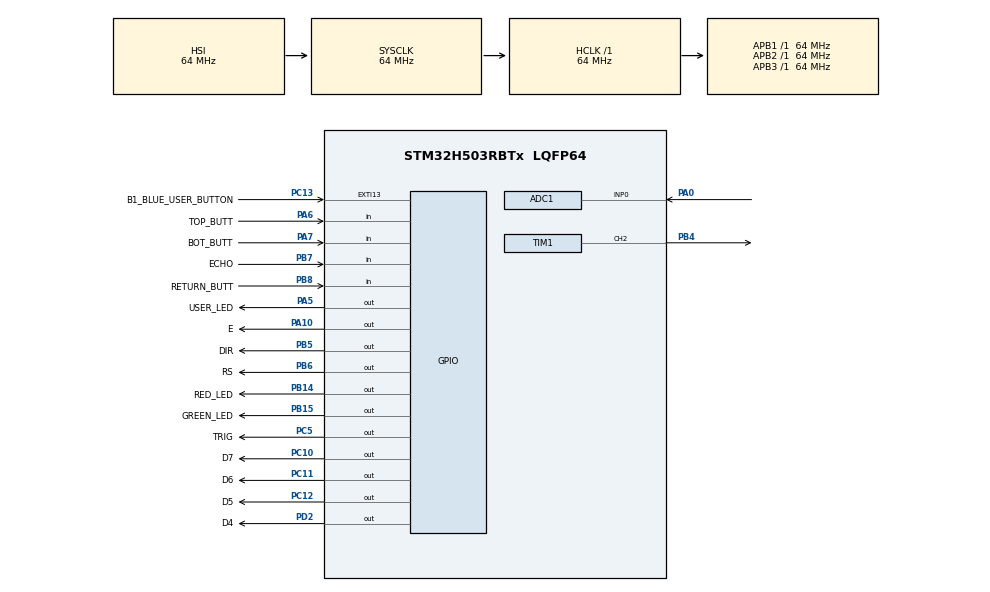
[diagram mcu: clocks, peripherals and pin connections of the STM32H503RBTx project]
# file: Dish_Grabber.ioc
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ADC1.Channel-0\#ChannelRegularConversion=ADC_CHANNEL_0
ADC1.MonitoredBy-0\#ChannelRegularConversion=__NULL
ADC1.NbrOfConversionFlag=1
ADC1.OffsetNumber-0\#ChannelRegularConversion=ADC_OFFSET_NONE
ADC1.Rank-0\#ChannelRegularConversion=1
ADC1.SamplingTime-0\#ChannelRegularConversion=ADC_SAMPLETIME_2CYCLES_5
ADC1.master=1
BOOTPATH.BootPathName=LEGACY
BOOTPATH.UserSelectedBootPath=LEGACY
Mcu.Family=STM32H5
Mcu.Name=STM32H503RBTx
Mcu.Package=LQFP64
NVIC.PriorityGroup=NVIC_PRIORITYGROUP_4
PA0.Signal=ADCx_INP0
PA10.GPIO_Label=E
PA10.Signal=GPIO_Output
PA3.GPIO_Label=T_VCP_RX
PA3.Signal=USART3_RX
PA4.GPIO_Label=T_VCP_TX
PA4.Signal=USART3_TX
PA5.GPIO_Label=USER_LED
PA5.Signal=GPIO_Output
PA6.GPIO_Label=TOP_BUTT
PA6.Signal=GPIO_Input
PA7.GPIO_Label=BOT_BUTT
PA7.Signal=GPIO_Input
PB14.GPIO_Label=RED_LED
PB14.Signal=GPIO_Output
PB15.GPIO_Label=GREEN_LED
PB15.Signal=GPIO_Output
PB4(NJTRST).Signal=S_TIM1_CH2
PB5.GPIO_Label=DIR
PB5.Signal=GPIO_Output
PB6.GPIO_Label=RS
PB6.Signal=GPIO_Output
PB7.GPIO_Label=ECHO
PB7.Signal=GPIO_Input
PB8.GPIO_Label=RETURN_BUTT
PB8.Signal=GPIO_Input
PC10.GPIO_Label=D7
PC10.Signal=GPIO_Output
PC11.GPIO_Label=D6
PC11.Signal=GPIO_Output
PC12.GPIO_Label=D5
PC12.Signal=GPIO_Output
PC13.GPIO_Label=B1_BLUE_USER_BUTTON
PC13.Signal=GPXTI13
PC5.GPIO_Label=TRIG
PC5.Signal=GPIO_Output
PD2.GPIO_Label=D4
PD2.Signal=GPIO_Output
ProjectManager.HeapSize=0x200
ProjectManager.StackSize=0x400
ProjectManager.TargetToolchain=STM32CubeIDE
RCC.ADCFreq_Value=64000000
RCC.AHBFreq_Value=64000000
RCC.APB1Freq_Value=64000000
RCC.APB1TimFreq_Value=64000000
RCC.APB2Freq_Value=64000000
RCC.APB2TimFreq_Value=64000000
RCC.APB3Freq_Value=64000000
RCC.CSI_VALUE=4000000
RCC.CortexFreq_Value=64000000
RCC.EPOD_VALUE=4000000
RCC.HCLKFreq_Value=64000000
RCC.HSE_VALUE=24000000
RCC.HSI48_VALUE=48000000
RCC.HSIDiv=RCC_HSI_DIV1
RCC.HSI_VALUE=64000000
RCC.LSE_VALUE=32768
RCC.LSIRC_VALUE=32000
RCC.PLLN=32
RCC.SYSCLKFreq_VALUE=64000000
RCC.USBFreq_Value=48000000
RCC.VCOOutputFreq_Value=128000000
SH.ADCx_INP0.0=ADC1_INP0,IN0-Single-Ended
SH.S_TIM1_CH2.0=TIM1_CH2,PWM Generation2 CH2
TIM1.Channel-PWM\ Generation2\ CH2=TIM_CHANNEL_2
TIM2.Prescaler=63
VP_BOOTPATH_VS_BOOTPATH.Mode=BP_Activate
VP_CORTEX_M33_NS_VS_Hclk.Mode=Hclk_Mode
VP_MEMORYMAP_VS_MEMORYMAP.Mode=CurAppReg
VP_PWR_VS_DBSignals.Mode=DisableDeadBatterySignals
VP_PWR_VS_LPOM.Mode=PowerOptimisation
VP_PWR_VS_SECSignals.Mode=Security/Privilege
VP_TIM2_VS_ClockSourceINT.Mode=Internal
board=NUCLEO-H503RB

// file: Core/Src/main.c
/* USER CODE BEGIN Header */
/**
  ******************************************************************************
  * @file           : main.c
  * @brief          : Main program body
  ******************************************************************************
  * @attention
  *
  * Copyright (c) 2026 STMicroelectronics.
  * All rights reserved.
  *
  * This software is licensed under terms that can be found in the LICENSE file
  * in the root directory of this software component.
  * If no LICENSE file comes with this software, it is provided AS-IS.
  *
  ******************************************************************************
  */
/* USER CODE END Header */
#include "main.h"

/* USER CODE BEGIN Includes */

#include <stdio.h> 					//Include needed for writing to LCD
/* USER CODE END Includes */

ADC_HandleTypeDef hadc1;                // ADC signal from the FSR

TIM_HandleTypeDef htim1;                // PWM Timer for the motor
TIM_HandleTypeDef htim2;				// Timer for the ultrasonic sensor

/* USER CODE BEGIN PV */

const char* modes[] = {"Plate", "Cup", "Bowl", "Manual"};  // Array of pointers for mode options
int current_mode = 0;				    // Index to keep track of  mode selection
uint8_t state = 0;     					// State Index
//uint8_t cycle = 0;
/* These next x_prev_butt variables record the value of the previous button
 * state. This is to help de-bounce and make sure that the system only
 * changes when a button goes from being un-pressed to pressed.
 * Holding the button will not derail the system.*/
uint8_t top_prev_butt = GPIO_PIN_SET;
uint8_t bot_prev_butt = GPIO_PIN_SET;
uint8_t ret_prev_butt = GPIO_PIN_SET;

uint8_t positioned = 0;                  // Indicates when the slider has reached its position
uint8_t select = GPIO_PIN_RESET;         // Indicates when the select button has been pressed
uint16_t touch = 0;                      // Stores the value of the voltage seen by the ADC input from the FSR

/* USER CODE END PV */

void SystemClock_Config(void);
static void MX_GPIO_Init(void);
static void MX_TIM2_Init(void);
static void MX_TIM1_Init(void);
static void MX_ADC1_Init(void);

/* USER CODE BEGIN 0 */
/*These are the functions to initiate and enable to LCD and US capabilities.*/
// Pulse the Enable pin to latch data ---
static void LCD_Pulse_Enable(void)
{
    HAL_GPIO_WritePin(GPIOA, E_Pin, GPIO_PIN_SET);
    HAL_Delay(1);
    HAL_GPIO_WritePin(GPIOA, E_Pin, GPIO_PIN_RESET);
    HAL_Delay(1);
}

// --- Send the upper nibble (bits 7-4) via D4-D7 ---
static void LCD_Send_Nibble(uint8_t nibble)
{
    HAL_GPIO_WritePin(D4_GPIO_Port,  D4_Pin, (nibble >> 0) & 1);
    HAL_GPIO_WritePin(GPIOC,         D5_Pin, (nibble >> 1) & 1);
    HAL_GPIO_WritePin(GPIOC,         D6_Pin, (nibble >> 2) & 1);
    HAL_GPIO_WritePin(GPIOC,         D7_Pin, (nibble >> 3) & 1);
    LCD_Pulse_Enable();
}

// --- Send a full byte as two nibbles ---
static void LCD_Send_Byte(uint8_t byte, uint8_t rs)
{
    HAL_GPIO_WritePin(RS_GPIO_Port, RS_Pin, rs);   // RS=0: command, RS=1: data
    LCD_Send_Nibble(byte >> 4);             // High nibble first
    LCD_Send_Nibble(byte & 0x0F);           // Low nibble second
    HAL_Delay(2);
}

// --- Initialize the LCD in 4-bit mode ---
static void LCD_Init(void)
{
    HAL_Delay(50);                          // Wait for LCD power-up

    // Special 3-step init to reliably enter 4-bit mode
    HAL_GPIO_WritePin(RS_GPIO_Port, RS_Pin, GPIO_PIN_RESET);
    LCD_Send_Nibble(0x03); HAL_Delay(5);
    LCD_Send_Nibble(0x03); HAL_Delay(1);
    LCD_Send_Nibble(0x03); HAL_Delay(1);
    LCD_Send_Nibble(0x02); HAL_Delay(1);    // Switch to 4-bit mode

    LCD_Send_Byte(0x28, 0);                 // 4-bit, 2 lines, 5x8 font
    LCD_Send_Byte(0x0C, 0);                 // Display ON, cursor OFF, blink OFF
    LCD_Send_Byte(0x06, 0);                 // Entry mode: increment, no shift
    LCD_Send_Byte(0x01, 0);                 // Clear display
    HAL_Delay(2);                           // Clear needs extra time
}

// --- Print a string at the current cursor position ---
static void LCD_Print(const char *str)
{
    while (*str)
        LCD_Send_Byte((uint8_t)*str++, 1);
}

// --- Move cursor: row 0 or 1, col 0-15 ---
static void LCD_Set_Cursor(uint8_t row, uint8_t col)
{
    uint8_t addr = (row == 0) ? (0x80 + col) : (0xC0 + col);
    LCD_Send_Byte(addr, 0);
}

void delay_us(uint32_t us)
{
    __HAL_TIM_SET_COUNTER(&htim2, 0);
    while (__HAL_TIM_GET_COUNTER(&htim2) < us);
}

uint32_t Ultrasonic_Read(void)
{
    HAL_GPIO_WritePin(TRIG_GPIO_Port, TRIG_Pin, GPIO_PIN_SET);
    delay_us(10);
    HAL_GPIO_WritePin(TRIG_GPIO_Port, TRIG_Pin, GPIO_PIN_RESET);

    uint32_t timeout = 0;
    while (HAL_GPIO_ReadPin(ECHO_GPIO_Port, ECHO_Pin) == GPIO_PIN_RESET)
    {
        timeout++;
        if (timeout > 100000) return 0;
    }

    __HAL_TIM_SET_COUNTER(&htim2, 0);
    while (HAL_GPIO_ReadPin(ECHO_GPIO_Port, ECHO_Pin) == GPIO_PIN_SET);
    return __HAL_TIM_GET_COUNTER(&htim2);
}
/* USER CODE END 0 */

int main(void)
{

  /* MCU Configuration--------------------------------------------------------*/

  /* Reset of all peripherals, Initializes the Flash interface and the Systick. */
  HAL_Init();

  /* Configure the system clock */
  SystemClock_Config();

  /* Initialize all configured peripherals */
  MX_GPIO_Init();
  MX_TIM2_Init();
  MX_TIM1_Init();
  MX_ADC1_Init();
  /* USER CODE BEGIN 2 */
  /*Initializes the PWM for the motor driver*/
  HAL_TIM_PWM_Start(&htim1, TIM_CHANNEL_2);
  // Starts the timer 2 for the US
  // Initializes the LCD and displays a message on startup
  HAL_TIM_Base_Start(&htim2);
  LCD_Init();
  LCD_Set_Cursor(0, 0);
  LCD_Print("Dirty Dishes!");
// Counts down from 5 seconds after displaying the start screen
  char buf[4];
  for (int i = 5; i >= 1; i--)
  {
      LCD_Set_Cursor(1, 0);       // Row 2, column 0
      sprintf(buf, "%d", i);
      LCD_Print(buf);
      HAL_Delay(1000);
  }

  LCD_Send_Byte(0x01, 0);         // Clear display
  HAL_Delay(2);

  // Initializes reading from the ADC Input

  ADC_ChannelConfTypeDef sConfig = {0};
  sConfig.Rank         = ADC_REGULAR_RANK_1;
  sConfig.SamplingTime = ADC_SAMPLETIME_2CYCLES_5;
  sConfig.SingleDiff   = ADC_SINGLE_ENDED;
  sConfig.OffsetNumber = ADC_OFFSET_NONE;
  sConfig.Offset       = 0;
  /* USER CODE END 2 */

  /* Infinite loop */
  /* USER CODE BEGIN WHILE */
  while (1)
  {

	  // Reads from the ADC Input every time the loop runs.

	    sConfig.Channel = ADC_CHANNEL_0;
	    HAL_ADC_ConfigChannel(&hadc1, &sConfig);
	    HAL_ADC_Start(&hadc1);
	    HAL_ADC_PollForConversion(&hadc1, HAL_MAX_DELAY);
	    touch = HAL_ADC_GetValue(&hadc1);
	    HAL_ADC_Stop(&hadc1);
	    ///////////////////////////////////////////////////////////////////////////////
// Reads for an input from the button pins to see if a button is being pressed or not.
	  uint8_t top_curr_butt = HAL_GPIO_ReadPin(TOP_BUTT_GPIO_Port, TOP_BUTT_Pin);
	  uint8_t bot_curr_butt = HAL_GPIO_ReadPin(BOT_BUTT_GPIO_Port, BOT_BUTT_Pin);
	  uint8_t ret_curr_butt = HAL_GPIO_ReadPin(RETURN_BUTT_GPIO_Port, RETURN_BUTT_Pin);

    /* USER CODE END WHILE */

    /* USER CODE BEGIN 3 */
	  // Sets up the rows of the LCD to be written to row by row.
	    char row1[32];
	    char row2[32];

	    uint32_t echo_us = Ultrasonic_Read();			// Stores the live readings from the US
//	    uint32_t dist_whole = echo_us / 58;
//	    uint32_t dist_frac  = (echo_us % 58) * 10 / 58;

/*Defined states for the system to operate in:
 * State 0: Home menu
 * 			- Here the user can cycle between operation modes and select
 * 			the desired mode.
 * 			- These modes are plate, cup, bowl, and manual
 * 			- Once a mode is selected then it will go into the corresponding state.*/
if(state == 0)
	{
	// For troubleshooting
//	if (ret_curr_butt == GPIO_PIN_RESET && ret_prev_butt == GPIO_PIN_SET)
//	{
//	    HAL_GPIO_TogglePin(USER_LED_GPIO_Port, USER_LED_Pin);
//	}
	// Cycle Button
	if (top_curr_butt == GPIO_PIN_RESET && top_prev_butt == GPIO_PIN_SET)
	{
		current_mode += 1;
		HAL_GPIO_TogglePin(GPIOB, RED_LED_Pin);
		HAL_Delay(10);
	}
	// Resets the mode selection so that it doesn't overflow and continuously cycles
	if (current_mode >= 4)
	{
	    current_mode = 0;
	}
	// Selection Button
	if (bot_curr_butt == GPIO_PIN_RESET && bot_prev_butt == GPIO_PIN_SET)
	{
		select ^= 1;
		HAL_GPIO_TogglePin(GPIOB, GREEN_LED_Pin);
		HAL_Delay(10);
	}
// sets the new value of the previous button state for comparison
	    top_prev_butt = top_curr_butt;
	    bot_prev_butt = bot_curr_butt;

	    sprintf(row1, "Select Mode: ");
	    sprintf(row2, "%-10s ", modes[current_mode]);
//	    sprintf(row2, "%-10s     %u", modes[current_mode],select);

	    row1[16] = '\0';
	    row2[16] = '\0';

	    LCD_Set_Cursor(0, 0);
	    LCD_Print(row1);
	    LCD_Set_Cursor(1, 0);
	    LCD_Print(row2);
// These if statements check for what mode has been selected and displays on screen
	    // This is handled here so that there is no need to constantly write to the
	    // screen and to immediately transition to the corresponding state.
	    if (select == 1 && current_mode == 3)
	    {
	    	state = 1;
		    LCD_Set_Cursor(0, 0);
		    LCD_Print("Manual Mode!    ");
		    LCD_Set_Cursor(1, 0);
		    sprintf(row2, "%-16s", "");   // Left-justify empty string padded to 16 chars
		    LCD_Print(row2);
	    }
	    if (select == 1 && current_mode == 0)
	    {
	    	state = 2;
		    LCD_Set_Cursor(0, 0);
		    LCD_Print("Plate Mode!    ");
		    LCD_Set_Cursor(1, 0);
		    sprintf(row2, "%-16s", "");   // Left-justify empty string padded to 16 chars
		    LCD_Print(row2);
	    }
	    if (select == 1 && current_mode == 1)
	    {
	    	state = 3;
		    LCD_Set_Cursor(0, 0);
		    LCD_Print("Cup Mode!    ");
		    LCD_Set_Cursor(1, 0);
		    sprintf(row2, "%-16s", "");   // Left-justify empty string padded to 16 chars
		    LCD_Print(row2);
	    }
	    if (select == 1 && current_mode == 2)
	    {
	    	state = 4;
		    LCD_Set_Cursor(0, 0);
		    LCD_Print("Bowl Mode!    ");
		    LCD_Set_Cursor(1, 0);
		    sprintf(row2, "%-16s", "");   // Left-justify empty string padded to 16 chars
		    LCD_Print(row2);
	    }

//	    HAL_Delay(10);
	}
// MOTOR MODE
/*This is the state that holds the logic for the manual motor control
 * This enables the user to press the top and bottom buttons to move
 * the slider up and down the mechanism. Code was written to be safe
 * so that the motor is only moving when it is told to. The third button
 * on the breadboard also acts as an emergency stop button to cut off
 * all power to the motor*/
	if(state == 1)
	{

	    if (top_curr_butt == GPIO_PIN_RESET)        // Forward Motion
	    {
	        HAL_GPIO_WritePin(DIR_GPIO_Port, DIR_Pin, GPIO_PIN_SET);
	        __HAL_TIM_SET_COMPARE(&htim1, TIM_CHANNEL_2, htim1.Init.Period); // Full speed
	        HAL_GPIO_WritePin(GPIOB, RED_LED_Pin, GPIO_PIN_SET);
	        HAL_GPIO_WritePin(GPIOB, GREEN_LED_Pin, GPIO_PIN_RESET);
	    }
	    else if (bot_curr_butt == GPIO_PIN_RESET)   // Reverse Motion
	    {
	        HAL_GPIO_WritePin(DIR_GPIO_Port, DIR_Pin, GPIO_PIN_RESET);
	        __HAL_TIM_SET_COMPARE(&htim1, TIM_CHANNEL_2, htim1.Init.Period); // Full speed
	        HAL_GPIO_WritePin(GPIOB, RED_LED_Pin, GPIO_PIN_SET);
	        HAL_GPIO_WritePin(GPIOB, GREEN_LED_Pin, GPIO_PIN_RESET);
	    }
	    else                                         // Stop the motor
	    {
	        __HAL_TIM_SET_COMPARE(&htim1, TIM_CHANNEL_2, 0); // 0% duty = off
	        HAL_GPIO_WritePin(GPIOB, RED_LED_Pin, GPIO_PIN_RESET);
	        HAL_GPIO_WritePin(GPIOB, GREEN_LED_Pin, GPIO_PIN_RESET);
	    }
// Stops all power to the motor and brings the state back to the selection menu
	    if (ret_curr_butt == GPIO_PIN_RESET && ret_prev_butt == GPIO_PIN_SET)
	    {
	        __HAL_TIM_SET_COMPARE(&htim1, TIM_CHANNEL_2, 0); // stop motor
	        HAL_GPIO_WritePin(GPIOB, RED_LED_Pin, GPIO_PIN_RESET);
	        HAL_GPIO_WritePin(GPIOB, GREEN_LED_Pin, GPIO_PIN_RESET);
	        select = 0;
	        current_mode = 0;
	        state = 0;
	        HAL_Delay(10);
	    }

	}

	// PLATE MODE///////
	/*Contains logic for the plate mode
	 * Utilizes US distance data to mode the slider to a pre-determined distance
	 * away from the base. Logic is similar to the manual motor mode but now has no
	 * inputs from the user. The third button remains as a reset and stop button */
	if(state == 2)
	{

		    sprintf(row2, "ADC: %u    ", touch);
		    LCD_Set_Cursor(1, 0);
		    LCD_Print(row2);

		if(!positioned)
		{
		    // If the sight is less than 24.75 cm away, then bring it forward
		    if (echo_us > 0 && echo_us < 1436)
		    {
		        // something is closer than 24.75 cm
		        HAL_GPIO_WritePin(DIR_GPIO_Port, DIR_Pin, GPIO_PIN_SET);
		        __HAL_TIM_SET_COMPARE(&htim1, TIM_CHANNEL_2, htim1.Init.Period); // Full speed
		        HAL_GPIO_WritePin(GPIOB, RED_LED_Pin, GPIO_PIN_SET);
		    }
		    else if (echo_us > 1465)
		    {
		        // further than 25.25 cm — spin back to close in
		        HAL_GPIO_WritePin(DIR_GPIO_Port, DIR_Pin, GPIO_PIN_RESET);
		        __HAL_TIM_SET_COMPARE(&htim1, TIM_CHANNEL_2, htim1.Init.Period);
		        HAL_GPIO_WritePin(GPIOB, RED_LED_Pin, GPIO_PIN_SET);
		    }
		    else
		    {
		        // between 24.75 and 25.25 cm — stop (dead band)
		        __HAL_TIM_SET_COMPARE(&htim1, TIM_CHANNEL_2, 0);
		        HAL_GPIO_WritePin(GPIOB, RED_LED_Pin, GPIO_PIN_RESET);
		        positioned = 1;

		    }
		}
		    // FSR pressed = higher voltage = higher ADC value
		    // Threshold of 500 (out of 4095) — tune this to your sensor
		// Enables functionality of using the touch pad to light up a green
		//LED to indicate that pressure is being applied
		    if (touch > 2000)
		    {
		        HAL_GPIO_WritePin(GPIOB, GREEN_LED_Pin, GPIO_PIN_SET);
		    }
		    else
		    {
		        HAL_GPIO_WritePin(GPIOB, GREEN_LED_Pin, GPIO_PIN_RESET);
		    }

		    if (ret_curr_butt == GPIO_PIN_RESET && ret_prev_butt == GPIO_PIN_SET)
		    {
		        __HAL_TIM_SET_COMPARE(&htim1, TIM_CHANNEL_2, 0); // stop motor
		        HAL_GPIO_WritePin(GPIOB, RED_LED_Pin, GPIO_PIN_RESET);
		        HAL_GPIO_WritePin(GPIOB, GREEN_LED_Pin, GPIO_PIN_RESET);
		        select = 0;
		        current_mode = 0;
		        state = 0;
		        positioned = 0;
		        HAL_Delay(10);
		    }

	}
	// CUP MODE/////////
	/*Contains the logic for the cup mode.
	 * Similar to plate mode, but now the distance has changed
	 * and the logic now operates as a hard stop rather than
	 * a range of values. Same touch and stop button functionality.*/
		if (state == 3)
		{

		    sprintf(row2, "ADC: %u    ", touch);
		    LCD_Set_Cursor(1, 0);
		    LCD_Print(row2);

		if(!positioned)
		{
		    // If the sight is less than 24.75 cm away, then bring it forward
		    if (echo_us < 1713)
		    {
		        // something is closer than 24.75 cm
		        HAL_GPIO_WritePin(DIR_GPIO_Port, DIR_Pin, GPIO_PIN_SET);
		        __HAL_TIM_SET_COMPARE(&htim1, TIM_CHANNEL_2, htim1.Init.Period); // Full speed
		        HAL_GPIO_WritePin(GPIOB, RED_LED_Pin, GPIO_PIN_SET);
		    }
		    else
		    {
		        // between 24.75 and 25.25 cm — stop (dead band)
		        __HAL_TIM_SET_COMPARE(&htim1, TIM_CHANNEL_2, 0);
		        HAL_GPIO_WritePin(GPIOB, RED_LED_Pin, GPIO_PIN_RESET);
		        positioned = 1;

		    }
		}
		    // FSR pressed = higher voltage = higher ADC value
		    // Threshold of 500 (out of 4095) — tune this to your sensor
		    if (touch > 2000)
		    {
		        HAL_GPIO_WritePin(GPIOB, GREEN_LED_Pin, GPIO_PIN_SET);
		    }
		    else
		    {
		        HAL_GPIO_WritePin(GPIOB, GREEN_LED_Pin, GPIO_PIN_RESET);
		    }
		    if (ret_curr_butt == GPIO_PIN_RESET && ret_prev_butt == GPIO_PIN_SET)
		    {
		        __HAL_TIM_SET_COMPARE(&htim1, TIM_CHANNEL_2, 0); // stop motor
		        HAL_GPIO_WritePin(GPIOB, RED_LED_Pin, GPIO_PIN_RESET);
		        HAL_GPIO_WritePin(GPIOB, GREEN_LED_Pin, GPIO_PIN_RESET);
		        select = 0;
		        current_mode = 0;
		        state = 0;
		        positioned = 0;
		        HAL_Delay(10);
		    }
		}
	// BOWL MODE/////////
		/*Contains the logic for the bowl mode.
		 * Similar to plate mode. Same touch and stop button functionality.*/
	if (state == 4)
	{

	    sprintf(row2, "ADC: %u    ", touch);
	    LCD_Set_Cursor(1, 0);
	    LCD_Print(row2);

	if(!positioned)
	{
	    if (echo_us > 0 && echo_us < 1175)
	    {
	        HAL_GPIO_WritePin(DIR_GPIO_Port, DIR_Pin, GPIO_PIN_SET);
	        __HAL_TIM_SET_COMPARE(&htim1, TIM_CHANNEL_2, htim1.Init.Period); // Full speed
	        HAL_GPIO_WritePin(GPIOB, RED_LED_Pin, GPIO_PIN_SET);
	    }
	    else if (echo_us > 1204)
	    {
	        HAL_GPIO_WritePin(DIR_GPIO_Port, DIR_Pin, GPIO_PIN_RESET);
	        __HAL_TIM_SET_COMPARE(&htim1, TIM_CHANNEL_2, htim1.Init.Period);
	        HAL_GPIO_WritePin(GPIOB, RED_LED_Pin, GPIO_PIN_SET);
	    }
	    else
	    {
	        __HAL_TIM_SET_COMPARE(&htim1, TIM_CHANNEL_2, 0);
	        HAL_GPIO_WritePin(GPIOB, RED_LED_Pin, GPIO_PIN_RESET);
	        positioned = 1;

	    }
	}
	    // FSR pressed = higher voltage = higher ADC value
	    // Threshold of 500 (out of 4095) — tune this to your sensor
	    if (touch > 2000)
	    {
	        HAL_GPIO_WritePin(GPIOB, GREEN_LED_Pin, GPIO_PIN_SET);
	    }
	    else
	    {
	        HAL_GPIO_WritePin(GPIOB, GREEN_LED_Pin, GPIO_PIN_RESET);
	    }
	    if (ret_curr_butt == GPIO_PIN_RESET && ret_prev_butt == GPIO_PIN_SET)
	    {
	        __HAL_TIM_SET_COMPARE(&htim1, TIM_CHANNEL_2, 0); // stop motor
	        HAL_GPIO_WritePin(GPIOB, RED_LED_Pin, GPIO_PIN_RESET);
	        HAL_GPIO_WritePin(GPIOB, GREEN_LED_Pin, GPIO_PIN_RESET);
	        select = 0;
	        current_mode = 0;
	        state = 0;
	        positioned = 0;
	        HAL_Delay(10);
	    }
	}

    ret_prev_butt = ret_curr_butt;

  }
  /* USER CODE END 3 */
}

void SystemClock_Config(void)
{
  RCC_OscInitTypeDef RCC_OscInitStruct = {0};
  RCC_ClkInitTypeDef RCC_ClkInitStruct = {0};

  /** Configure the main internal regulator output voltage
  */
  __HAL_PWR_VOLTAGESCALING_CONFIG(PWR_REGULATOR_VOLTAGE_SCALE3);

  while(!__HAL_PWR_GET_FLAG(PWR_FLAG_VOSRDY)) {}

  /** Initializes the RCC Oscillators according to the specified parameters
  * in the RCC_OscInitTypeDef structure.
  */
  RCC_OscInitStruct.OscillatorType = RCC_OSCILLATORTYPE_HSI;
  RCC_OscInitStruct.HSIState = RCC_HSI_ON;
  RCC_OscInitStruct.HSIDiv = RCC_HSI_DIV1;
  RCC_OscInitStruct.HSICalibrationValue = RCC_HSICALIBRATION_DEFAULT;
  RCC_OscInitStruct.PLL.PLLState = RCC_PLL_NONE;
  if (HAL_RCC_OscConfig(&RCC_OscInitStruct) != HAL_OK)
  {
    Error_Handler();
  }

  /** Initializes the CPU, AHB and APB buses clocks
  */
  RCC_ClkInitStruct.ClockType = RCC_CLOCKTYPE_HCLK|RCC_CLOCKTYPE_SYSCLK
                              |RCC_CLOCKTYPE_PCLK1|RCC_CLOCKTYPE_PCLK2
                              |RCC_CLOCKTYPE_PCLK3;
  RCC_ClkInitStruct.SYSCLKSource = RCC_SYSCLKSOURCE_HSI;
  RCC_ClkInitStruct.AHBCLKDivider = RCC_SYSCLK_DIV1;
  RCC_ClkInitStruct.APB1CLKDivider = RCC_HCLK_DIV1;
  RCC_ClkInitStruct.APB2CLKDivider = RCC_HCLK_DIV1;
  RCC_ClkInitStruct.APB3CLKDivider = RCC_HCLK_DIV1;

  if (HAL_RCC_ClockConfig(&RCC_ClkInitStruct, FLASH_LATENCY_3) != HAL_OK)
  {
    Error_Handler();
  }

  /** Configure the programming delay
  */
  __HAL_FLASH_SET_PROGRAM_DELAY(FLASH_PROGRAMMING_DELAY_1);
}

static void MX_ADC1_Init(void)
{

  ADC_ChannelConfTypeDef sConfig = {0};

  /** Common config
  */
  hadc1.Instance = ADC1;
  hadc1.Init.ClockPrescaler = ADC_CLOCK_ASYNC_DIV2;
  hadc1.Init.Resolution = ADC_RESOLUTION_12B;
  hadc1.Init.DataAlign = ADC_DATAALIGN_RIGHT;
  hadc1.Init.ScanConvMode = ADC_SCAN_DISABLE;
  hadc1.Init.EOCSelection = ADC_EOC_SINGLE_CONV;
  hadc1.Init.LowPowerAutoWait = DISABLE;
  hadc1.Init.ContinuousConvMode = DISABLE;
  hadc1.Init.NbrOfConversion = 1;
  hadc1.Init.DiscontinuousConvMode = DISABLE;
  hadc1.Init.ExternalTrigConv = ADC_SOFTWARE_START;
  hadc1.Init.ExternalTrigConvEdge = ADC_EXTERNALTRIGCONVEDGE_NONE;
  hadc1.Init.DMAContinuousRequests = DISABLE;
  hadc1.Init.SamplingMode = ADC_SAMPLING_MODE_NORMAL;
  hadc1.Init.Overrun = ADC_OVR_DATA_PRESERVED;
  hadc1.Init.OversamplingMode = DISABLE;
  if (HAL_ADC_Init(&hadc1) != HAL_OK)
  {
    Error_Handler();
  }

  /** Configure Regular Channel
  */
  sConfig.Channel = ADC_CHANNEL_0;
  sConfig.Rank = ADC_REGULAR_RANK_1;
  sConfig.SamplingTime = ADC_SAMPLETIME_2CYCLES_5;
  sConfig.SingleDiff = ADC_SINGLE_ENDED;
  sConfig.OffsetNumber = ADC_OFFSET_NONE;
  sConfig.Offset = 0;
  if (HAL_ADC_ConfigChannel(&hadc1, &sConfig) != HAL_OK)
  {
    Error_Handler();
  }

}

static void MX_TIM1_Init(void)
{

  TIM_MasterConfigTypeDef sMasterConfig = {0};
  TIM_OC_InitTypeDef sConfigOC = {0};
  TIM_BreakDeadTimeConfigTypeDef sBreakDeadTimeConfig = {0};

  htim1.Instance = TIM1;
  htim1.Init.Prescaler = 0;
  htim1.Init.CounterMode = TIM_COUNTERMODE_UP;
  htim1.Init.Period = 65535;
  htim1.Init.ClockDivision = TIM_CLOCKDIVISION_DIV1;
  htim1.Init.RepetitionCounter = 0;
  htim1.Init.AutoReloadPreload = TIM_AUTORELOAD_PRELOAD_DISABLE;
  if (HAL_TIM_PWM_Init(&htim1) != HAL_OK)
  {
    Error_Handler();
  }
  sMasterConfig.MasterOutputTrigger = TIM_TRGO_RESET;
  sMasterConfig.MasterOutputTrigger2 = TIM_TRGO2_RESET;
  sMasterConfig.MasterSlaveMode = TIM_MASTERSLAVEMODE_DISABLE;
  if (HAL_TIMEx_MasterConfigSynchronization(&htim1, &sMasterConfig) != HAL_OK)
  {
    Error_Handler();
  }
  sConfigOC.OCMode = TIM_OCMODE_PWM1;
  sConfigOC.Pulse = 0;
  sConfigOC.OCPolarity = TIM_OCPOLARITY_HIGH;
  sConfigOC.OCNPolarity = TIM_OCNPOLARITY_HIGH;
  sConfigOC.OCFastMode = TIM_OCFAST_DISABLE;
  sConfigOC.OCIdleState = TIM_OCIDLESTATE_RESET;
  sConfigOC.OCNIdleState = TIM_OCNIDLESTATE_RESET;
  if (HAL_TIM_PWM_ConfigChannel(&htim1, &sConfigOC, TIM_CHANNEL_2) != HAL_OK)
  {
    Error_Handler();
  }
  sBreakDeadTimeConfig.OffStateRunMode = TIM_OSSR_DISABLE;
  sBreakDeadTimeConfig.OffStateIDLEMode = TIM_OSSI_DISABLE;
  sBreakDeadTimeConfig.LockLevel = TIM_LOCKLEVEL_OFF;
  sBreakDeadTimeConfig.DeadTime = 0;
  sBreakDeadTimeConfig.BreakState = TIM_BREAK_DISABLE;
  sBreakDeadTimeConfig.BreakPolarity = TIM_BREAKPOLARITY_HIGH;
  sBreakDeadTimeConfig.BreakFilter = 0;
  sBreakDeadTimeConfig.BreakAFMode = TIM_BREAK_AFMODE_INPUT;
  sBreakDeadTimeConfig.Break2State = TIM_BREAK2_DISABLE;
  sBreakDeadTimeConfig.Break2Polarity = TIM_BREAK2POLARITY_HIGH;
  sBreakDeadTimeConfig.Break2Filter = 0;
  sBreakDeadTimeConfig.Break2AFMode = TIM_BREAK_AFMODE_INPUT;
  sBreakDeadTimeConfig.AutomaticOutput = TIM_AUTOMATICOUTPUT_DISABLE;
  if (HAL_TIMEx_ConfigBreakDeadTime(&htim1, &sBreakDeadTimeConfig) != HAL_OK)
  {
    Error_Handler();
  }
  HAL_TIM_MspPostInit(&htim1);

}

static void MX_TIM2_Init(void)
{

  TIM_ClockConfigTypeDef sClockSourceConfig = {0};
  TIM_MasterConfigTypeDef sMasterConfig = {0};

  htim2.Instance = TIM2;
  htim2.Init.Prescaler = 63;
  htim2.Init.CounterMode = TIM_COUNTERMODE_UP;
  htim2.Init.Period = 4294967295;
  htim2.Init.ClockDivision = TIM_CLOCKDIVISION_DIV1;
  htim2.Init.AutoReloadPreload = TIM_AUTORELOAD_PRELOAD_DISABLE;
  if (HAL_TIM_Base_Init(&htim2) != HAL_OK)
  {
    Error_Handler();
  }
  sClockSourceConfig.ClockSource = TIM_CLOCKSOURCE_INTERNAL;
  if (HAL_TIM_ConfigClockSource(&htim2, &sClockSourceConfig) != HAL_OK)
  {
    Error_Handler();
  }
  sMasterConfig.MasterOutputTrigger = TIM_TRGO_RESET;
  sMasterConfig.MasterSlaveMode = TIM_MASTERSLAVEMODE_DISABLE;
  if (HAL_TIMEx_MasterConfigSynchronization(&htim2, &sMasterConfig) != HAL_OK)
  {
    Error_Handler();
  }

}

static void MX_GPIO_Init(void)
{
  GPIO_InitTypeDef GPIO_InitStruct = {0};

  /* GPIO Ports Clock Enable */
  __HAL_RCC_GPIOC_CLK_ENABLE();
  __HAL_RCC_GPIOA_CLK_ENABLE();
  __HAL_RCC_GPIOB_CLK_ENABLE();
  __HAL_RCC_GPIOD_CLK_ENABLE();

  /*Configure GPIO pin Output Level */
  HAL_GPIO_WritePin(GPIOA, USER_LED_Pin|E_Pin, GPIO_PIN_RESET);

  /*Configure GPIO pin Output Level */
  HAL_GPIO_WritePin(GPIOC, TRIG_Pin|D7_Pin|D6_Pin|D5_Pin, GPIO_PIN_RESET);

  /*Configure GPIO pin Output Level */
  HAL_GPIO_WritePin(GPIOB, RED_LED_Pin|GREEN_LED_Pin|DIR_Pin|RS_Pin, GPIO_PIN_RESET);

  /*Configure GPIO pin Output Level */
  HAL_GPIO_WritePin(D4_GPIO_Port, D4_Pin, GPIO_PIN_RESET);

  /*Configure GPIO pin : B1_BLUE_USER_BUTTON_Pin */
  GPIO_InitStruct.Pin = B1_BLUE_USER_BUTTON_Pin;
  GPIO_InitStruct.Mode = GPIO_MODE_IT_RISING;
  GPIO_InitStruct.Pull = GPIO_NOPULL;
  HAL_GPIO_Init(B1_BLUE_USER_BUTTON_GPIO_Port, &GPIO_InitStruct);

  /*Configure GPIO pins : T_VCP_RX_Pin T_VCP_TX_Pin */
  GPIO_InitStruct.Pin = T_VCP_RX_Pin|T_VCP_TX_Pin;
  GPIO_InitStruct.Mode = GPIO_MODE_AF_PP;
  GPIO_InitStruct.Pull = GPIO_NOPULL;
  GPIO_InitStruct.Speed = GPIO_SPEED_FREQ_LOW;
  GPIO_InitStruct.Alternate = GPIO_AF13_USART3;
  HAL_GPIO_Init(GPIOA, &GPIO_InitStruct);

  /*Configure GPIO pins : USER_LED_Pin E_Pin */
  GPIO_InitStruct.Pin = USER_LED_Pin|E_Pin;
  GPIO_InitStruct.Mode = GPIO_MODE_OUTPUT_PP;
  GPIO_InitStruct.Pull = GPIO_NOPULL;
  GPIO_InitStruct.Speed = GPIO_SPEED_FREQ_LOW;
  HAL_GPIO_Init(GPIOA, &GPIO_InitStruct);

  /*Configure GPIO pins : TOP_BUTT_Pin BOT_BUTT_Pin */
  GPIO_InitStruct.Pin = TOP_BUTT_Pin|BOT_BUTT_Pin;
  GPIO_InitStruct.Mode = GPIO_MODE_INPUT;
  GPIO_InitStruct.Pull = GPIO_NOPULL;
  HAL_GPIO_Init(GPIOA, &GPIO_InitStruct);

  /*Configure GPIO pins : TRIG_Pin D7_Pin D6_Pin D5_Pin */
  GPIO_InitStruct.Pin = TRIG_Pin|D7_Pin|D6_Pin|D5_Pin;
  GPIO_InitStruct.Mode = GPIO_MODE_OUTPUT_PP;
  GPIO_InitStruct.Pull = GPIO_NOPULL;
  GPIO_InitStruct.Speed = GPIO_SPEED_FREQ_LOW;
  HAL_GPIO_Init(GPIOC, &GPIO_InitStruct);

  /*Configure GPIO pins : RED_LED_Pin GREEN_LED_Pin DIR_Pin RS_Pin */
  GPIO_InitStruct.Pin = RED_LED_Pin|GREEN_LED_Pin|DIR_Pin|RS_Pin;
  GPIO_InitStruct.Mode = GPIO_MODE_OUTPUT_PP;
  GPIO_InitStruct.Pull = GPIO_NOPULL;
  GPIO_InitStruct.Speed = GPIO_SPEED_FREQ_LOW;
  HAL_GPIO_Init(GPIOB, &GPIO_InitStruct);

  /*Configure GPIO pin : D4_Pin */
  GPIO_InitStruct.Pin = D4_Pin;
  GPIO_InitStruct.Mode = GPIO_MODE_OUTPUT_PP;
  GPIO_InitStruct.Pull = GPIO_NOPULL;
  GPIO_InitStruct.Speed = GPIO_SPEED_FREQ_LOW;
  HAL_GPIO_Init(D4_GPIO_Port, &GPIO_InitStruct);

  /*Configure GPIO pins : ECHO_Pin RETURN_BUTT_Pin */
  GPIO_InitStruct.Pin = ECHO_Pin|RETURN_BUTT_Pin;
  GPIO_InitStruct.Mode = GPIO_MODE_INPUT;
  GPIO_InitStruct.Pull = GPIO_NOPULL;
  HAL_GPIO_Init(GPIOB, &GPIO_InitStruct);

}

void Error_Handler(void)
{
  __disable_irq();
  while (1)
  {
  }
}
